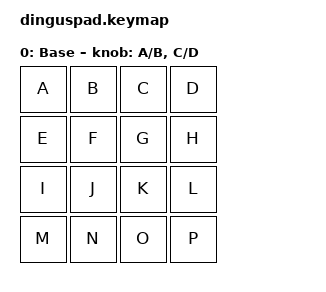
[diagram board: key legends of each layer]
#include <behaviors.dtsi>
#include <dt-bindings/zmk/keys.h>

/ {
    keymap {
        compatible = "zmk,keymap";

        default_layer {
            display-name = "Base";
            bindings = <
                &kp A &kp B &kp C &kp D
                &kp E &kp F &kp G &kp H
                &kp I &kp J &kp K &kp L
                &kp M &kp N &kp O &kp P
            >;
            sensor-bindings = <&inc_dec_kp A B &inc_dec_kp C D>;
        };
    };
};
